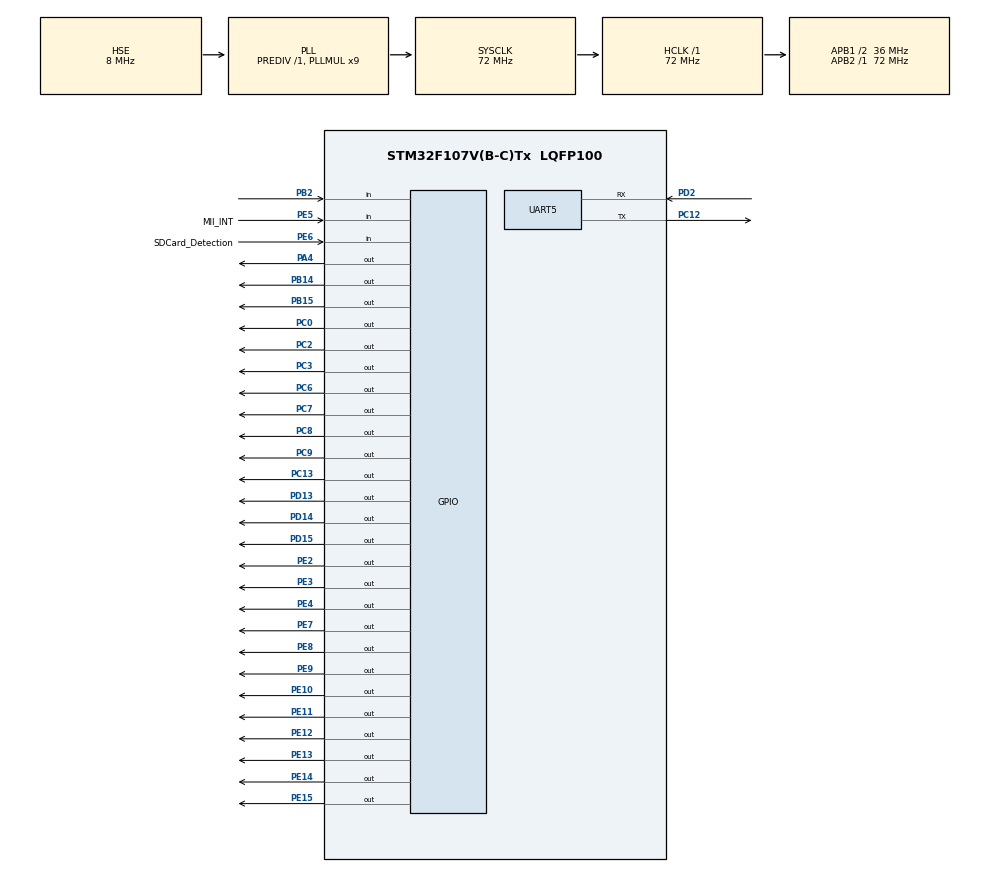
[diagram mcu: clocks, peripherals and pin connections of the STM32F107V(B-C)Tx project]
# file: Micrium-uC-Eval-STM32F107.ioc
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FREERTOS.HEAP_NUMBER=4
FREERTOS.INCLUDE_pcTaskGetTaskName=1
FREERTOS.Tasks01=defaultTask,24,128,StartDefaultTask,Default,NULL,Dynamic,NULL,NULL;task_shell,8,256,task_shell_run,As weak,NULL,Dynamic,NULL,NULL;easylog_thread,16,256,task_fal_log_run,As weak,NULL,Dynamic,NULL,NULL
FREERTOS.configGENERATE_RUN_TIME_STATS=1
FREERTOS.configMAX_TASK_NAME_LEN=32
FREERTOS.configRECORD_STACK_HIGH_ADDRESS=0
FREERTOS.configTOTAL_HEAP_SIZE=15000
FREERTOS.configUSE_APPLICATION_TASK_TAG=0
FREERTOS.configUSE_STATS_FORMATTING_FUNCTIONS=1
IWDG.Prescaler=IWDG_PRESCALER_256
Mcu.Family=STM32F1
Mcu.Name=STM32F107V(B-C)Tx
Mcu.Package=LQFP100
NVIC.PriorityGroup=NVIC_PRIORITYGROUP_4
NVIC.TIM5_IRQn=true\:15\:0\:false\:false\:true\:false\:false\:true
NVIC.TimeBase=TIM5_IRQn
NVIC.TimeBaseIP=TIM5
NVIC.UART5_IRQn=true\:5\:0\:false\:false\:true\:true\:true\:true
OSC_IN.Mode=HSE-External-Oscillator
OSC_IN.Signal=RCC_OSC_IN
OSC_OUT.Mode=HSE-External-Oscillator
OSC_OUT.Signal=RCC_OSC_OUT
PA13.Mode=Serial_Wire
PA13.Signal=SYS_JTMS-SWDIO
PA14.Mode=Serial_Wire
PA14.Signal=SYS_JTCK-SWCLK
PA4.Signal=GPIO_Output
PB14.Signal=GPIO_Output
PB15.Signal=GPIO_Output
PB2.Signal=GPIO_Input
PC0.Signal=GPIO_Output
PC12.Mode=Asynchronous
PC12.Signal=UART5_TX
PC13-TAMPER-RTC.Signal=GPIO_Output
PC14-OSC32_IN.Mode=LSE-External-Oscillator
PC14-OSC32_IN.Signal=RCC_OSC32_IN
PC15-OSC32_OUT.Mode=LSE-External-Oscillator
PC15-OSC32_OUT.Signal=RCC_OSC32_OUT
PC2.Signal=GPIO_Output
PC3.Signal=GPIO_Output
PC6.Signal=GPIO_Output
PC7.Signal=GPIO_Output
PC8.Signal=GPIO_Output
PC9.Signal=GPIO_Output
PD13.Signal=GPIO_Output
PD14.Signal=GPIO_Output
PD15.Signal=GPIO_Output
PD2.Mode=Asynchronous
PD2.Signal=UART5_RX
PE10.Signal=GPIO_Output
PE11.Signal=GPIO_Output
PE12.Signal=GPIO_Output
PE13.Signal=GPIO_Output
PE14.Signal=GPIO_Output
PE15.Signal=GPIO_Output
PE2.Signal=GPIO_Output
PE3.Signal=GPIO_Output
PE4.Signal=GPIO_Output
PE5.GPIO_Label=MII_INT
PE5.Signal=GPIO_Input
PE6.GPIO_Label=SDCard_Detection
PE6.Signal=GPIO_Input
PE7.Signal=GPIO_Output
PE8.Signal=GPIO_Output
PE9.Signal=GPIO_Output
ProjectManager.HeapSize=0x200
ProjectManager.StackSize=0x400
ProjectManager.TargetToolchain=Makefile
RCC.AHBFreq_Value=72000000
RCC.APB1CLKDivider=RCC_HCLK_DIV2
RCC.APB1Freq_Value=36000000
RCC.APB1TimFreq_Value=72000000
RCC.APB2Freq_Value=72000000
RCC.APB2TimFreq_Value=72000000
RCC.HCLKFreq_Value=72000000
RCC.PLLMUL=RCC_PLL_MUL9
RCC.PLLSourceVirtual=RCC_PLLSOURCE_HSE
RCC.SYSCLKFreq_VALUE=72000000
RCC.SYSCLKSource=RCC_SYSCLKSOURCE_PLLCLK
RCC.USBFreq_Value=48000000
RTC.AutoPrediv=RTC_AUTO_1_SECOND
UART5.VirtualMode=Asynchronous
VP_FREERTOS_VS_CMSIS_V2.Mode=CMSIS_V2
VP_IWDG_VS_IWDG.Mode=IWDG_Activate
VP_RTC_No_RTC_Output.Mode=RTC_OUT_NO
VP_RTC_VS_RTC_Activate.Mode=RTC_Enabled
VP_RTC_VS_RTC_Calendar.Mode=RTC_Calendar
VP_SYS_VS_tim5.Mode=TIM5
board=custom

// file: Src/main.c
/* USER CODE BEGIN Header */
/**
 ******************************************************************************
 * @file           : main.c
 * @brief          : Main program body
 ******************************************************************************
 * @attention
 *
 * Copyright (c) 2022 STMicroelectronics.
 * All rights reserved.
 *
 * This software is licensed under terms that can be found in the LICENSE file
 * in the root directory of this software component.
 * If no LICENSE file comes with this software, it is provided AS-IS.
 *
 ******************************************************************************
 */
/* USER CODE END Header */
#include "main.h"
#include "cmsis_os.h"
#include "iwdg.h"
#include "rtc.h"
#include "usart.h"
#include "gpio.h"

void SystemClock_Config(void);
void MX_FREERTOS_Init(void);

int main(void)
{

  /* MCU Configuration--------------------------------------------------------*/

  /* Reset of all peripherals, Initializes the Flash interface and the Systick. */
  HAL_Init();

  /* Configure the system clock */
  SystemClock_Config();

  /* Initialize all configured peripherals */
  MX_GPIO_Init();
  MX_RTC_Init();
  MX_UART5_Init();
  MX_IWDG_Init();
  /* USER CODE BEGIN 2 */
  int app_init(void);
  app_init();
  /* USER CODE END 2 */

  /* Init scheduler */
  osKernelInitialize();  /* Call init function for freertos objects (in freertos.c) */
  MX_FREERTOS_Init();
  /* Start scheduler */
  osKernelStart();

  /* We should never get here as control is now taken by the scheduler */
  /* Infinite loop */
  while (1) {

  }
}

void SystemClock_Config(void)
{
  RCC_OscInitTypeDef RCC_OscInitStruct = {0};
  RCC_ClkInitTypeDef RCC_ClkInitStruct = {0};
  RCC_PeriphCLKInitTypeDef PeriphClkInit = {0};

  /** Initializes the RCC Oscillators according to the specified parameters
  * in the RCC_OscInitTypeDef structure.
  */
  RCC_OscInitStruct.OscillatorType = RCC_OSCILLATORTYPE_LSI|RCC_OSCILLATORTYPE_HSE;
  RCC_OscInitStruct.HSEState = RCC_HSE_ON;
  RCC_OscInitStruct.HSEPredivValue = RCC_HSE_PREDIV_DIV1;
  RCC_OscInitStruct.HSIState = RCC_HSI_ON;
  RCC_OscInitStruct.LSIState = RCC_LSI_ON;
  RCC_OscInitStruct.Prediv1Source = RCC_PREDIV1_SOURCE_HSE;
  RCC_OscInitStruct.PLL.PLLState = RCC_PLL_ON;
  RCC_OscInitStruct.PLL.PLLSource = RCC_PLLSOURCE_HSE;
  RCC_OscInitStruct.PLL.PLLMUL = RCC_PLL_MUL9;
  RCC_OscInitStruct.PLL2.PLL2State = RCC_PLL_NONE;
  if (HAL_RCC_OscConfig(&RCC_OscInitStruct) != HAL_OK)
  {
    Error_Handler();
  }
  /** Initializes the CPU, AHB and APB buses clocks
  */
  RCC_ClkInitStruct.ClockType = RCC_CLOCKTYPE_HCLK|RCC_CLOCKTYPE_SYSCLK
                              |RCC_CLOCKTYPE_PCLK1|RCC_CLOCKTYPE_PCLK2;
  RCC_ClkInitStruct.SYSCLKSource = RCC_SYSCLKSOURCE_PLLCLK;
  RCC_ClkInitStruct.AHBCLKDivider = RCC_SYSCLK_DIV1;
  RCC_ClkInitStruct.APB1CLKDivider = RCC_HCLK_DIV2;
  RCC_ClkInitStruct.APB2CLKDivider = RCC_HCLK_DIV1;

  if (HAL_RCC_ClockConfig(&RCC_ClkInitStruct, FLASH_LATENCY_2) != HAL_OK)
  {
    Error_Handler();
  }
  PeriphClkInit.PeriphClockSelection = RCC_PERIPHCLK_RTC;
  PeriphClkInit.RTCClockSelection = RCC_RTCCLKSOURCE_LSI;
  if (HAL_RCCEx_PeriphCLKConfig(&PeriphClkInit) != HAL_OK)
  {
    Error_Handler();
  }
  /** Configure the Systick interrupt time
  */
  __HAL_RCC_PLLI2S_ENABLE();
}

void HAL_TIM_PeriodElapsedCallback(TIM_HandleTypeDef *htim)
{
  if (htim->Instance == TIM5) {
    HAL_IncTick();
  }
}

void Error_Handler(void)
{
  __disable_irq();
  while (1) {
  }
}

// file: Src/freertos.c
/* USER CODE BEGIN Header */
/**
 ******************************************************************************
 * File Name          : freertos.c
 * Description        : Code for freertos applications
 ******************************************************************************
 * @attention
 *
 * Copyright (c) 2022 STMicroelectronics.
 * All rights reserved.
 *
 * This software is licensed under terms that can be found in the LICENSE file
 * in the root directory of this software component.
 * If no LICENSE file comes with this software, it is provided AS-IS.
 *
 ******************************************************************************
 */
/* USER CODE END Header */

#include "FreeRTOS.h"

#include "cmsis_os.h"
#include "main.h"
#include "task.h"

/* USER CODE BEGIN Includes */
#define LOG_TAG "freertos"
#include "elog.h"
/* USER CODE END Includes */

/* USER CODE BEGIN PM */
extern IWDG_HandleTypeDef hiwdg;
/* USER CODE END PM */

/* Definitions for defaultTask */
osThreadId_t defaultTaskHandle;
const osThreadAttr_t defaultTask_attributes = {
    .name = "defaultTask",
    .stack_size = 128 * 4,
    .priority = (osPriority_t)osPriorityNormal,
};
/* Definitions for task_shell */
osThreadId_t task_shellHandle;
const osThreadAttr_t task_shell_attributes = {
    .name = "task_shell",
    .stack_size = 256 * 4,
    .priority = (osPriority_t)osPriorityLow,
};
/* Definitions for easylog_thread */
osThreadId_t easylog_threadHandle;
const osThreadAttr_t easylog_thread_attributes = {
    .name = "easylog_thread",
    .stack_size = 256 * 4,
    .priority = (osPriority_t)osPriorityBelowNormal,
};

void StartDefaultTask(void *argument);
void task_shell_run(void *argument);
void task_fal_log_run(void *argument);

void MX_FREERTOS_Init(void); /* (MISRA C 2004 rule 8.1) */

/* Hook prototypes */
void configureTimerForRunTimeStats(void);
unsigned long getRunTimeCounterValue(void);

/* USER CODE BEGIN 1 */
/* Functions needed when configGENERATE_RUN_TIME_STATS is on */
__weak void configureTimerForRunTimeStats(void) {}

__weak unsigned long getRunTimeCounterValue(void) { return 0; }
/* USER CODE END 1 */

void MX_FREERTOS_Init(void) {

  /* Create the thread(s) */
  /* creation of defaultTask */
  defaultTaskHandle =
      osThreadNew(StartDefaultTask, NULL, &defaultTask_attributes);

  /* creation of task_shell */
  task_shellHandle = osThreadNew(task_shell_run, NULL, &task_shell_attributes);

  /* creation of easylog_thread */
  easylog_threadHandle =
      osThreadNew(task_fal_log_run, NULL, &easylog_thread_attributes);

}

void StartDefaultTask(void *argument) {
  /* USER CODE BEGIN StartDefaultTask */
  (void)argument;
  /* Infinite loop */
  for (;;) {
    /* feed iwdg */
    HAL_IWDG_Refresh(&hiwdg);
    osDelay(1000);
    // HAL_GPIO_TogglePin(GPIOC, GPIO_PIN_2);
    // HAL_GPIO_TogglePin(GPIOC, GPIO_PIN_3);
  }
  /* USER CODE END StartDefaultTask */
}

__weak void task_shell_run(void *argument) {
  /* USER CODE BEGIN task_shell_run */
  (void)argument;
  /* Infinite loop */
  for (;;) {
    /* get RTT key */
    void letter_shell_recv_poll_handler(void);
    letter_shell_recv_poll_handler();
    /* handle letter shell */
    void letter_shell_recv_handler(void);
    letter_shell_recv_handler();
    osDelay(10);
  }
  /* USER CODE END task_shell_run */
}

__weak void task_fal_log_run(void *argument) {
  /* USER CODE BEGIN task_fal_log_run */
  (void)argument;
  /* Infinite loop */
  for (;;) {
    osDelay(1);
  }
  /* USER CODE END task_fal_log_run */
}
